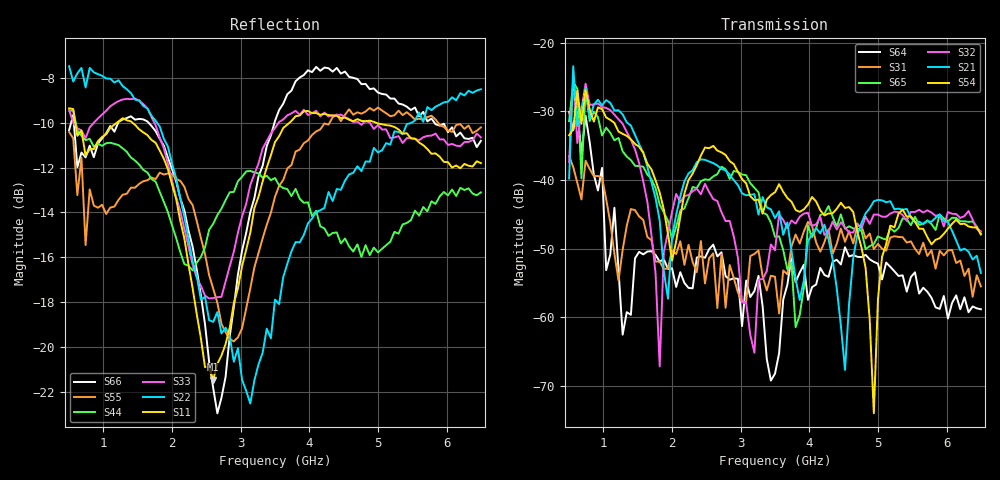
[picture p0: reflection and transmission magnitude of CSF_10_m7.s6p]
!Keysight Technologies,M9804A,MY58100912,A.14.10.03
!Date: Thursday, April 27, 2023 10:28:33
!Correction: S11(C  6-Port  )
!S12(C  6-Port  )
!S13(C  6-Port  )
!S14(C  6-Port  )
!S15(C  6-Port  )
!S16(C  6-Port  )
!S21(C  6-Port  )
!S22(C  6-Port  )
!S23(C  6-Port  )
!S24(C  6-Port  )
!S25(C  6-Port  )
!S26(C  6-Port  )
!S31(C  6-Port  )
!S32(C  6-Port  )
!S33(C  6-Port  )
!S34(C  6-Port  )
!S35(C  6-Port  )
!S36(C  6-Port  )
!S41(C  6-Port  )
!S42(C  6-Port  )
!S43(C  6-Port  )
!S44(C  6-Port  )
!S45(C  6-Port  )
!S46(C  6-Port  )
!S51(C  6-Port  )
!S52(C  6-Port  )
!S53(C  6-Port  )
!S54(C  6-Port  )
!S55(C  6-Port  )
!S56(C  6-Port  )
!S61(C  6-Port  )
!S62(C  6-Port  )
!S63(C  6-Port  )
!S64(C  6-Port  )
!S65(C  6-Port  )
!S66(C  6-Port  )
!S6P File: Measurement: :
# Hz S  RI  R 50
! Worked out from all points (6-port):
!   101 points, 500 MHz to 6.5 GHz, reference 50 ohm
!   strongest paths, dB at 500 MHz, 2 GHz, 3.5 GHz, 5 GHz, 6.5 GHz:
!     S54: -33.5, -51.8, -41.8, -57.4, -48.0
!     S21: -39.8, -48.3, -45.6, -42.9, -53.5
!     S32: -37.4, -44.7, -50.2, -45.1, -47.5
!     S65: -31.4, -48.7, -48.3, -48.2, -47.8
!     S31: -36.5, -50.3, -54.1, -49.3, -55.5
!     S64: -30.1, -52.9, -68.2, -52.2, -58.8
!   lowest |S11| = -21.4 dB at 2.6 GHz (marker M1), VSWR 1.19, Z = 42.5 + j2.16 ohm
!   |S11| at or under -10 dB: 590.2 MHz to 1.197 GHz (607.1 MHz wide, 67.9 % of centre); 1.421 GHz to 3.713 GHz (2.292 GHz wide, 89.3 % of centre); 4.967 GHz to end of sweep
